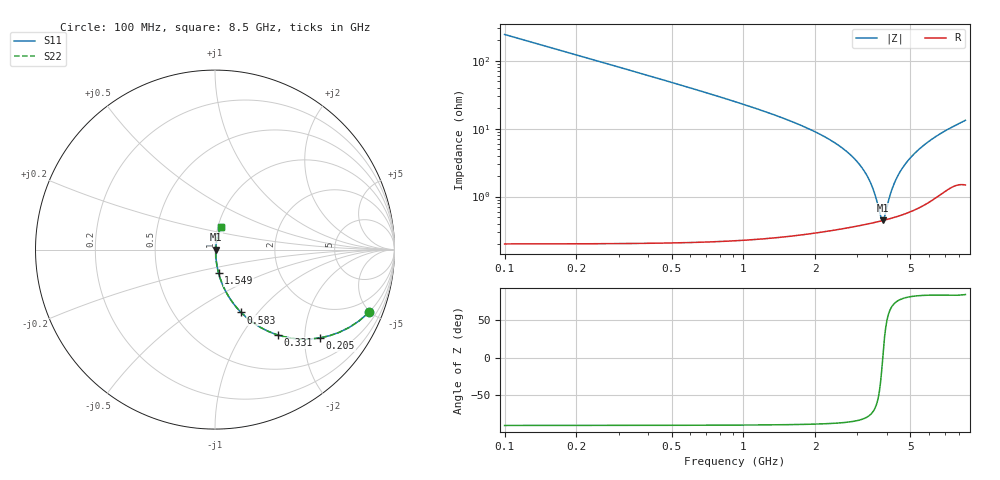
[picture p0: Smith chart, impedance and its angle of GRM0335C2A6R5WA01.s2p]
!Murata Part Number: GRM0335C2A6R5WA01
!These Parameters are Measured in Series Mode Connection
!Data Generated on Mar 30, 2021
!  o--ll--o
!Port1  Port2
!  o------o
!Operation Temp=25[degC], DC Bias Voltage=0[V]
!Freq. Start=100[MHz] Stop=9[GHz] 401[Steps]
# Hz S RI R 50
!Freq.(Hz) S11(Real) S11(Imag) S21(Real) S21(Imag) S12(Real) S12(Imag) S22(Real) S22(Imag)
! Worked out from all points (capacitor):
!   401 points, 100 MHz to 8.5 GHz, reference 50 ohm
!   read as one part in series: C = 6.5 pF near 142 MHz
!   lowest |Z| = 444 mohm at 3.838 GHz (marker M1)
!   series resonance near 3.832 GHz, so ESL is about 270 pH
!   S11 on the Smith chart (normalised r, x): 100 MHz: 1.00, -4.89; 205 MHz: 1.00, -2.38; 331 MHz: 1.00, -1.47; 583 MHz: 1.00, -0.82; 1.549 GHz: 1.01, -0.27; 8.5 GHz: 1.03, +0.26
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1e8  0.8567 -0.35  0.1433 0.35  0.1433 0.35  0.8567 -0.35
2.05e8  0.5864 -0.4916  0.4136 0.4916  0.4136 0.4916  0.5864 -0.4916
3.31e8  0.3507 -0.4758  0.6493 0.4758  0.6493 0.4758  0.3507 -0.4758
4.36e8  0.236 -0.4227  0.764 0.4227  0.764 0.4227  0.236 -0.4227
5.83e8  0.1454 -0.35  0.8546 0.35  0.8546 0.35  0.1454 -0.35
9.19e8  0.0613 -0.2354  0.9387 0.2354  0.9387 0.2354  0.0613 -0.2354
1.507e9  0.021 -0.1346  0.979 0.1346  0.979 0.1346  0.021 -0.1346
1.549e9  0.0198 -0.1297  0.9802 0.1297  0.9802 0.1297  0.0198 -0.1297
2.431e9  0.00686 -0.0602  0.9931 0.0602  0.9931 0.0602  0.00686 -0.0602
2.914e9  0.00487 -0.0357  0.9951 0.0357  0.9951 0.0357  0.00487 -0.0357
3.397e9  0.00425 -0.0157  0.9958 0.0157  0.9958 0.0157  0.00425 -0.0157
3.565e9  0.00424 -0.00941  0.9958 0.00941  0.9958 0.00941  0.00424 -0.00941
3.754e9  0.00434 -0.00268  0.9957 0.00268  0.9957 0.00268  0.00434 -0.00268
3.838e9  0.00442 0.000219  0.9956 -0.000219  0.9956 -0.000219  0.00442 0.000219
3.901e9  0.00449 0.00236  0.9955 -0.00236  0.9955 -0.00236  0.00449 0.00236
4.132e9  0.00483 0.00996  0.9952 -0.00996  0.9952 -0.00996  0.00483 0.00996
4.3e9  0.00516 0.0153  0.9948 -0.0153  0.9948 -0.0153  0.00516 0.0153
4.531e9  0.00572 0.0224  0.9943 -0.0224  0.9943 -0.0224  0.00572 0.0224
4.846e9  0.00669 0.0318  0.9933 -0.0318  0.9933 -0.0318  0.00669 0.0318
5.707e9  0.0106 0.056  0.9894 -0.056  0.9894 -0.056  0.0106 0.056
7.114e9  0.0209 0.0922  0.9791 -0.0922  0.9791 -0.0922  0.0209 0.0922
8.5e9  0.031 0.1262  0.969 -0.1262  0.969 -0.1262  0.031 0.1262
